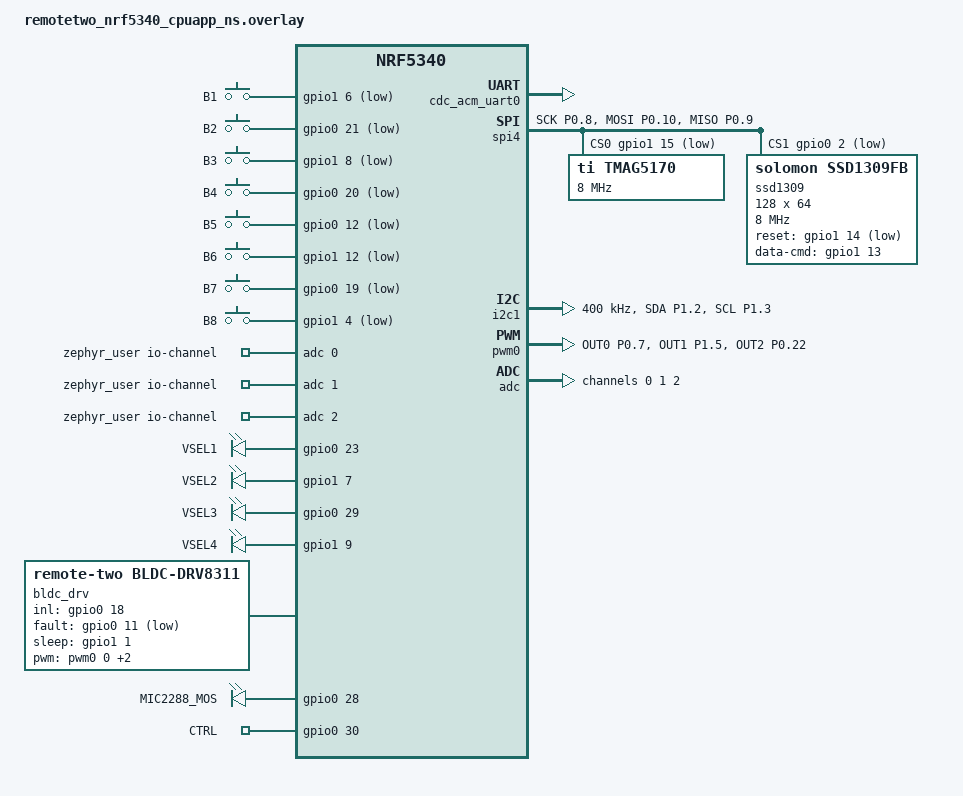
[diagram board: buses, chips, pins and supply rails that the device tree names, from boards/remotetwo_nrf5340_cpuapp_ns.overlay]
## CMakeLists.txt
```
cmake_minimum_required(VERSION 3.20.0)
find_package(Zephyr REQUIRED HINTS $ENV{ZEPHYR_BASE})

project(remote_two)

if(CONFIG_APP_DISP_TEST)
    target_sources(app PRIVATE
        src/disp_test.c
        src/haptic.c
        src/drivers/bldc_driver_3pwm.c
        src/drivers/bldc_motor.c
        src/drivers/current_sense.c
        src/drivers/tmag5170_sensor.c
    )
elseif(CONFIG_APP_DRV_TEST)
    target_sources(app PRIVATE
        src/DRV_test.c
        src/drivers/bldc_driver_3pwm.c
    )
else()
    target_sources(app PRIVATE
        src/main.c
        src/ui_display.c
        src/haptic.c
        src/remote_control.c
        src/BLE_commands.c
        src/drivers/tmag5170_sensor.c
        src/drivers/bldc_driver_3pwm.c
        src/drivers/bldc_motor.c
        src/drivers/current_sense.c
    )
endif()

target_include_directories(app PRIVATE src)
```

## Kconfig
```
mainmenu "RemoteTwo"

source "Kconfig.zephyr"

menu "Application build target"

	choice APP_BUILD
		prompt "Application to build"
		default APP_MAIN

	config APP_MAIN
		bool "Main application (BLE + display + motor FOC)"

	config APP_TMAG_TEST
		bool "TMAG5170 sensor stand-alone test"

	config APP_DRV_TEST
		bool "DRV8311H 3PWM driver open-loop test"

	endchoice

endmenu
```

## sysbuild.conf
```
# Build and flash nRF5340 network core with Bluetooth HCI IPC firmware.
SB_CONFIG_NETCORE_HCI_IPC=y
```

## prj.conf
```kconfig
# ==============================================================================
# TEST CODE SELECTOR - uncomment one of the lines below:
# ==============================================================================
#CONFIG_APP_DISP_TEST=y
#CONFIG_APP_DRV_TEST=y

# ==============================================================================
# 1. APPLICATION & SYSTEM
# ==============================================================================

# System tick rate must be >= FOC loop frequency (10 kHz)
CONFIG_SYS_CLOCK_TICKS_PER_SEC=10000

# FPU Support - Hardware Floating Point Unit
CONFIG_FPU=y
CONFIG_FP_HARDABI=y

# CMSIS DSP for ARM math library (Required for FOC)
CONFIG_CMSIS_DSP=y
CONFIG_CMSIS_DSP_FASTMATH=y

# ==============================================================================
# 2. HARDWARE & PERIPHERALS
# ==============================================================================
# Basic drivers
CONFIG_GPIO=y
CONFIG_SPI=y
CONFIG_PWM=y

# SAADC current sensing (DRV8311H CSA outputs) for FOC current torque control.
# We drive the SAADC directly with nrfx in advanced mode and PWM-synchronise
# sampling via GPPI (PWM0 PWMPERIODEND -> SAADC SAMPLE), so the Zephyr ADC
# driver must NOT own the peripheral. See src/drivers/current_sense.c.
CONFIG_ADC=n
CONFIG_NRFX_SAADC=y
CONFIG_NRFX_GPPI=y

# Display (custom framebuffer, no LVGL)
CONFIG_DISPLAY=y
CONFIG_SSD1306=y

# TMAG5170 angle sensor
CONFIG_SENSOR=y
CONFIG_TMAG5170=y

# Input subsystem (Menu button with debounce)
CONFIG_INPUT=y

# Power management: System OFF (deepest sleep) for the power button.
# NOTE: CONFIG_PM_DEVICE intentionally NOT enabled - it perturbs early device
# init on this target. TMAG5170 deep-sleep is done via a direct register write.
CONFIG_POWEROFF=y

# GPIOTE event handlers - 8 buttons + SPI CS GPIO interrupts + reserve
CONFIG_NRFX_GPIOTE_NUM_OF_EVT_HANDLERS=12

# ==============================================================================
# 3. BLUETOOTH LE + NUS
# ==============================================================================
CONFIG_BT=y
CONFIG_BT_PERIPHERAL=y
CONFIG_BT_DEVICE_NAME="remote_two"
CONFIG_BT_DEVICE_APPEARANCE=0
CONFIG_BT_MAX_CONN=1
CONFIG_BT_ZEPHYR_NUS=y

# Suppress verbose BT stack logs (keep only warnings+)
CONFIG_BT_HCI_CORE_LOG_LEVEL_WRN=y

# ==============================================================================
# 4. USB DEVICE STACK & DFU OTA (Application side)
# ==============================================================================

# Required dependencies for Flash writes and OTA updates
CONFIG_FLASH=y
CONFIG_IMG_MANAGER=y
CONFIG_STREAM_FLASH=y
CONFIG_FLASH_MAP=y

# Disable QSPI NOR flash - nRF5340DK board defconfig enables it by default.
# QSPI uses P0.13-P0.18; P0.18 = INL (motor low-side enable) -> conflict.
# Our DFU secondary slot is in INTERNAL flash (pm_static.yml), no QSPI needed.
CONFIG_NORDIC_QSPI_NOR=n

# Enable USB Device Stack
CONFIG_USB_DEVICE_STACK=y
CONFIG_USB_DEVICE_INITIALIZE_AT_BOOT=y
CONFIG_USB_DEVICE_PRODUCT="Remote Two"
CONFIG_USB_DEVICE_VID=0x2FE3
CONFIG_USB_DEVICE_PID=0x0100

# SMP (Simple Management Protocol) for Over-The-Air/USB firmware updates
CONFIG_ZCBOR=y
CONFIG_MCUMGR=y
CONFIG_BASE64=y
CONFIG_MCUMGR_TRANSPORT_UART=y
CONFIG_MCUMGR_GRP_IMG=y
CONFIG_MCUMGR_GRP_OS=y

# ==============================================================================
# 5. LOGGING & CONSOLE (Over USB CDC ACM)
# ==============================================================================
# Enable serial console
CONFIG_SERIAL=y
CONFIG_CONSOLE=y
CONFIG_UART_CONSOLE=y
CONFIG_UART_LINE_CTRL=y

# Disable Segger RTT to prevent conflicts with USB logging
CONFIG_RTT_CONSOLE=n
CONFIG_USE_SEGGER_RTT=n

# Logging Subsystem
CONFIG_LOG=y
CONFIG_LOG_DEFAULT_LEVEL=3
CONFIG_LOG_OVERRIDE_LEVEL=0
# Deferred logging: log lines are queued and flushed from a low-priority thread,
# so a stalled/slow USB-CDC terminal can NEVER block the timing-sensitive haptic
# FOC init (immediate mode busy-waits on uart_poll_out and stalled the whole
# boot for ~20 s when the terminal was not draining fast enough).
CONFIG_LOG_MODE_DEFERRED=y

# Printk support (float formatting)
CONFIG_PRINTK=y
CONFIG_CBPRINTF_FP_SUPPORT=y
# Route printk() through the logging subsystem (default) so it shares the
# non-blocking deferred path and cannot busy-wait on USB-CDC either.
CONFIG_LOG_PRINTK=y
```

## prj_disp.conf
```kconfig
# SSD1309 + TMAG5170 clean app build.
# Minimal: only SPI + display + TMAG, no BT/PWM/CMSIS.

#CONFIG_APP_DISP_TEST=y

# Peripherals
CONFIG_GPIO=y
CONFIG_SPI=y

# Display (SSD1306 driver handles both SSD1306 and SSD1309)
CONFIG_DISPLAY=y
CONFIG_SSD1306=y

# FPU (needed by Zephyr arm init even in minimal builds)
CONFIG_FPU=y
CONFIG_FP_HARDABI=y

# RTT console
CONFIG_SERIAL=n
CONFIG_CONSOLE=y
CONFIG_RTT_CONSOLE=y
CONFIG_USE_SEGGER_RTT=y
CONFIG_SEGGER_RTT_BUFFER_SIZE_UP=4096
CONFIG_PRINTK=y
CONFIG_CBPRINTF_FP_SUPPORT=y
CONFIG_LOG=y
CONFIG_LOG_DEFAULT_LEVEL=3
CONFIG_LOG_MODE_IMMEDIATE=y

# Disable everything unused
CONFIG_INPUT=n
CONFIG_BT=n
CONFIG_PWM=y
CONFIG_SENSOR=y
CONFIG_TMAG5170=y
CONFIG_CMSIS_DSP=y
```

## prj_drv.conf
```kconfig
# DRV8311H 3PWM open-loop driver verification build.
# Stand-alone test: no BLE, no display, no encoder, no current sensing.

# App selector (picks DRV_test.c in CMakeLists.txt)
CONFIG_APP_DRV_TEST=y

# Required peripherals
CONFIG_GPIO=y
CONFIG_PWM=y

# Hardware FPU — sinf/cosf in set_phase_voltage
CONFIG_FPU=y
CONFIG_FP_HARDABI=y
CONFIG_CBPRINTF_FP_SUPPORT=y

# RTT console
CONFIG_SERIAL=n
CONFIG_CONSOLE=y
CONFIG_RTT_CONSOLE=y
CONFIG_USE_SEGGER_RTT=y
CONFIG_PRINTK=y
CONFIG_LOG=y
CONFIG_LOG_DEFAULT_LEVEL=3
CONFIG_LOG_MODE_IMMEDIATE=y
CONFIG_SEGGER_RTT_BUFFER_SIZE_UP=4096

# Disable unused subsystems
CONFIG_INPUT=n
CONFIG_BT=n
CONFIG_DISPLAY=n
CONFIG_SSD1306=n
CONFIG_SPI=n
CONFIG_SENSOR=n
CONFIG_CMSIS_DSP=n
```

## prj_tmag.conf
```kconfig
# Minimal TMAG5170 debug build

# Core peripherals
CONFIG_GPIO=y
CONFIG_SPI=y
CONFIG_SENSOR=y
CONFIG_TMAG5170=y
CONFIG_TMAG5170_CRC=n

# Logging over RTT
CONFIG_SERIAL=n
CONFIG_CONSOLE=y
CONFIG_RTT_CONSOLE=y
CONFIG_USE_SEGGER_RTT=y
CONFIG_PRINTK=y
CONFIG_LOG=y
CONFIG_LOG_DEFAULT_LEVEL=3
CONFIG_LOG_MODE_IMMEDIATE=y
CONFIG_SEGGER_RTT_BUFFER_SIZE_UP=4096

# Keep the build as small as possible for sensor debugging
CONFIG_INPUT=n
CONFIG_BT=n
CONFIG_DISPLAY=n
CONFIG_SSD1306=n
CONFIG_PWM=n
```

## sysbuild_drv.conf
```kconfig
# No BLE firmware on network core needed for the driver test.
SB_CONFIG_NETCORE_HCI_IPC=n
```

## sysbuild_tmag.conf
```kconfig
# Sysbuild config for isolated TMAG debugging on CPUAPP only.
# Disable netcore HCI IPC image to avoid building unrelated child image.
SB_CONFIG_NETCORE_HCI_IPC=n
```

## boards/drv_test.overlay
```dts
/*
 * Minimal device-tree overlay for DRV8311H 3PWM open-loop driver test.
 *
 * Pin assignment (nRF5340DK GPIO headers):
 *
 *   INA    → P0.07  (PWM0 OUT0) — high-side phase A gate signal
 *   INB    → P1.05  (PWM0 OUT1) — high-side phase B gate signal
 *   INC    → P0.22  (PWM0 OUT2) — high-side phase C gate signal
 *   INL    → P0.18  (GPIO out)  — shared low-side enable
 *   nSLEEP → P1.01  (GPIO out)  — sleep control, HIGH = awake
 *   nFAULT → P0.11  (GPIO in)   — active-low fault indicator
 *
 * INL logic level (DRV8311H datasheet, Table 1 – 3PWM mode):
 *   INL = HIGH → low-side gates enabled, complementary PWM (normal operation)
 *   INL = LOW  → all low-side gates forced off, motor coasts (Hi-Z)
 * The driver asserts INL HIGH inside bldc_driver_3pwm_init_hw().
 *
 * Slew rate: set to 75 V/µs by hardware (IDRIVEN/IDRIVEP resistors).
 * No firmware configuration required.
 */

&pinctrl {
	pwm0_default: pwm0_default {
		group1 {
			psels = <NRF_PSEL(PWM_OUT0, 0,  7)>,  /* INA – P0.07 */
				<NRF_PSEL(PWM_OUT1, 1,  5)>,  /* INB – P1.05 */
				<NRF_PSEL(PWM_OUT2, 0, 22)>;  /* INC – P0.22 */
		};
	};
	pwm0_sleep: pwm0_sleep {
		group1 {
			psels = <NRF_PSEL(PWM_OUT0, 0,  7)>,
				<NRF_PSEL(PWM_OUT1, 1,  5)>,
				<NRF_PSEL(PWM_OUT2, 0, 22)>;
			low-power-enable;
		};
	};
};

&pwm0 {
	status = "okay";
	pinctrl-0 = <&pwm0_default>;
	pinctrl-1 = <&pwm0_sleep>;
	pinctrl-names = "default", "sleep";
};

/ {
	bldc_drv: bldc_drv {
		compatible = "remote-two,bldc-drv8311";

		/* PWM order: INA (idx 0), INB (idx 1), INC (idx 2) */
		pwms = <&pwm0 0 PWM_KHZ(25) PWM_POLARITY_NORMAL>,
		       <&pwm0 1 PWM_KHZ(25) PWM_POLARITY_NORMAL>,
		       <&pwm0 2 PWM_KHZ(25) PWM_POLARITY_NORMAL>;

		/* INL = HIGH for normal operation (see INL note above) */
		inl-gpios   = <&gpio0 18 GPIO_ACTIVE_HIGH>;

		/* nSLEEP: HIGH = device awake */
		sleep-gpios = <&gpio1  1 GPIO_ACTIVE_HIGH>;

		/* nFAULT: active-low, falling edge = fault asserted */
		fault-gpios = <&gpio0 11 GPIO_ACTIVE_LOW>;
	};
};
```

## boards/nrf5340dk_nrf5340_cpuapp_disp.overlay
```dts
/*
 * Display + DRV8311H combined test pin override.
 * Applied on top of remotetwo_nrf5340_cpuapp_ns.overlay for the build_disp build.
 *
 * SPI3 MOSI rerouted to former MISO testpoint on P0.10.
 * SCK stays at P1.05.
 *
 * PWM0 channels routed to the actual INA/INB/INC pins (3PWM mode):
 *   OUT0 (INA) -> P0.07
 *   OUT1 (INB) -> P1.05
 *   OUT2 (INC) -> P0.22
 * Source: nrf5340dk_nrf5340_cpuapp_drv.overlay
 */

&pinctrl {
        spi3_default: spi3_default {
                group1 {
                        psels = <NRF_PSEL(SPIM_SCK,  1, 5)>,
                                <NRF_PSEL(SPIM_MOSI, 0, 10)>;
                };
        };
        spi3_sleep: spi3_sleep {
                group1 {
                        psels = <NRF_PSEL(SPIM_SCK,  1, 5)>,
                                <NRF_PSEL(SPIM_MOSI, 0, 10)>;
                        low-power-enable;
                };
        };
        pwm0_default: pwm0_default {
                group1 {
                        psels = <NRF_PSEL(PWM_OUT0, 0, 7)>,   /* INA -> P0.07 */
                                <NRF_PSEL(PWM_OUT1, 1, 5)>,    /* INB -> P1.05 */
                                <NRF_PSEL(PWM_OUT2, 0, 22)>;   /* INC -> P0.22 */
                };
        };
        pwm0_sleep: pwm0_sleep {
                group1 {
                        psels = <NRF_PSEL(PWM_OUT0, 0, 7)>,
                                <NRF_PSEL(PWM_OUT1, 1, 5)>,
                                <NRF_PSEL(PWM_OUT2, 0, 22)>;
		};
	};
};

/ {
	buttons {
		compatible = "gpio-keys";
		btn_east: btn_east {
			gpios = <&gpio1 4 (GPIO_PULL_UP | GPIO_ACTIVE_LOW)>;
			label = "East button";
		};
	};
};
```

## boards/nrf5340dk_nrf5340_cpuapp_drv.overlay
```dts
/*
 * DRV8311H 3PWM pin override.
 * Applied on top of nrf5340dk_nrf5340_cpuapp_ns.overlay for the build_drv build.
 *
 * PWM0 channels routed to the actual INA/INB/INC pins on the PCB:
 *   OUT0 (INA) -> P0.07
 *   OUT1 (INB) -> P1.05
 *   OUT2 (INC) -> P0.22
 *
 * The base overlay maps PWM0 to P1.14/P1.12/P1.10 (6PWM high-side).
 * This overlay replaces that mapping for the 3PWM DRV8311H build.
 */

&pinctrl {
	pwm0_default: pwm0_default {
		group1 {
			psels = <NRF_PSEL(PWM_OUT0, 0, 7)>,   /* INA -> P0.07 */
				<NRF_PSEL(PWM_OUT1, 1, 5)>,    /* INB -> P1.05 */
				<NRF_PSEL(PWM_OUT2, 0, 22)>;   /* INC -> P0.22 */
		};
	};
	pwm0_sleep: pwm0_sleep {
		group1 {
			psels = <NRF_PSEL(PWM_OUT0, 0, 7)>,
				<NRF_PSEL(PWM_OUT1, 1, 5)>,
				<NRF_PSEL(PWM_OUT2, 0, 22)>;
			low-power-enable;
		};
	};
};
```

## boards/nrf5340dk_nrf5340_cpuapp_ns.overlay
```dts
/*
 * Device Tree overlay for nRF5340 DK - remote_two
 *
 * AS5048A encoder (SPI3):
 *   SCK  -> P1.05
 *   MOSI -> P1.06
 *   MISO -> P1.02
 *   CS   -> P1.03
 *
 * SSD1309 OLED (shared SPI3 bus):
 *   CS   -> P1.09
 *   DC   -> P1.08
 *   RST  -> P1.07
 *
 * 6PWM motor driver:
 *   Phase A high -> P1.14
 *   Phase B high -> P1.12
 *   Phase C high -> P1.10
 *   Phase A low  -> P1.15
 *   Phase B low  -> P1.13
 *   Phase C low  -> P1.11
 */

&pinctrl {
	/* SPI3 - AS5048A encoder + SSD1309 display */
	spi3_default: spi3_default {
		group1 {
			psels = <NRF_PSEL(SPIM_SCK,  1, 5)>,
				<NRF_PSEL(SPIM_MOSI, 1, 6)>,
				<NRF_PSEL(SPIM_MISO, 1, 2)>;
		};
	};
	spi3_sleep: spi3_sleep {
		group1 {
			psels = <NRF_PSEL(SPIM_SCK,  1, 5)>,
				<NRF_PSEL(SPIM_MOSI, 1, 6)>,
				<NRF_PSEL(SPIM_MISO, 1, 2)>;
			low-power-enable;
		};
	};

	/* PWM0 - high-side gate signals (AH=OUT0, BH=OUT1, CH=OUT2) */
	pwm0_default: pwm0_default {
		group1 {
			psels = <NRF_PSEL(PWM_OUT0, 1, 14)>,
				<NRF_PSEL(PWM_OUT1, 1, 12)>,
				<NRF_PSEL(PWM_OUT2, 1, 10)>;
		};
	};
	pwm0_sleep: pwm0_sleep {
		group1 {
			psels = <NRF_PSEL(PWM_OUT0, 1, 14)>,
				<NRF_PSEL(PWM_OUT1, 1, 12)>,
				<NRF_PSEL(PWM_OUT2, 1, 10)>;
			low-power-enable;
		};
	};

	/* PWM1 - low-side gate signals (AL=OUT0, BL=OUT1, CL=OUT2) */
	pwm1_default: pwm1_default {
		group1 {
			psels = <NRF_PSEL(PWM_OUT0, 1, 15)>,
				<NRF_PSEL(PWM_OUT1, 1, 13)>,
				<NRF_PSEL(PWM_OUT2, 1, 11)>;
		};
	};
	pwm1_sleep: pwm1_sleep {
		group1 {
			psels = <NRF_PSEL(PWM_OUT0, 1, 15)>,
				<NRF_PSEL(PWM_OUT1, 1, 13)>,
				<NRF_PSEL(PWM_OUT2, 1, 11)>;
			low-power-enable;
		};
	};
};

/* SPI3 - AS5048A encoder (reg=0) + SSD1309 display (reg=1) */
&spi3 {
	compatible = "nordic,nrf-spim";
	status = "okay";
	pinctrl-0 = <&spi3_default>;
	pinctrl-1 = <&spi3_sleep>;
	pinctrl-names = "default", "sleep";
	cs-gpios = <&gpio1 3 GPIO_ACTIVE_LOW>,
		   <&gpio1 9 GPIO_ACTIVE_LOW>;

	as5048a: as5048a@0 {
		compatible = "ams,as5048a";
		reg = <0>;
		spi-max-frequency = <8000000>;
	};

	ssd1309: ssd1309@1 {
		compatible = "solomon,ssd1309fb";
		reg = <1>;
		spi-max-frequency = <8000000>;
		width = <128>;
		height = <64>;
		segment-offset = <0>;
		page-offset = <0>;
		display-offset = <0>;
		multiplex-ratio = <63>;
		segment-remap;
		com-invdir;
		prechargep = <0x22>;  /* Phase1=2, Phase2=2 – ext. VCC, no charge pump */
		reset-gpios = <&gpio1 7 GPIO_ACTIVE_LOW>;
		data-cmd-gpios = <&gpio1 8 GPIO_ACTIVE_HIGH>;
	};
};

/* PWM0 - high-side phase signals */
pwm_high: &pwm0 {
	status = "okay";
	pinctrl-0 = <&pwm0_default>;
	pinctrl-1 = <&pwm0_sleep>;
	pinctrl-names = "default", "sleep";
};

/* PWM1 - low-side phase signals */
pwm_low: &pwm1 {
	status = "okay";
	pinctrl-0 = <&pwm1_default>;
	pinctrl-1 = <&pwm1_sleep>;
	pinctrl-names = "default", "sleep";
};

/ {
	chosen {
		zephyr,display = &ssd1309;
	};

	/*
	 * 6PWM BLDC driver — channel order: AH, AL, BH, BL, CH, CL.
	 * To remap phases to different pins change only the pinctrl entries above;
	 * to swap which channel drives which phase edit the pwms list here.
	 * No C code needs to be touched.
	 */
	bldc_6pwm: bldc_6pwm {
		compatible = "remote-two,bldc-6pwm";
		pwms = <&pwm0 0 PWM_KHZ(25) PWM_POLARITY_NORMAL>,   /* Phase A high */
		       <&pwm1 0 PWM_KHZ(25) PWM_POLARITY_NORMAL>,   /* Phase A low  */
		       <&pwm0 1 PWM_KHZ(25) PWM_POLARITY_NORMAL>,   /* Phase B high */
		       <&pwm1 1 PWM_KHZ(25) PWM_POLARITY_NORMAL>,   /* Phase B low  */
		       <&pwm0 2 PWM_KHZ(25) PWM_POLARITY_NORMAL>,   /* Phase C high */
		       <&pwm1 2 PWM_KHZ(25) PWM_POLARITY_NORMAL>;   /* Phase C low  */
	};

	aliases {
		sw1 = &button1;
	};

	buttons {
		compatible = "gpio-keys";
		button1: button_1 {
			gpios = <&gpio0 24 (GPIO_PULL_UP | GPIO_ACTIVE_LOW)>;
			label = "Menu button";
			zephyr,code = <INPUT_KEY_ENTER>;
		};
	};
};
```

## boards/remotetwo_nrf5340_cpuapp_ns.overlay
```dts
/*
 * Device Tree overlay - RemoteTwo hardware (nRF5340 / MDBT53)
 * Derived from nRF5340_altium_schema.pdf / remotetwo_pins.txt
 *
 * LFXO  - 32.768 kHz crystal ABS07-32.768KHZ-9-T
 *   internal load capacitors set to 9 pF (= 9000 fF)
 *
 * SPIM4 (HSPI) - TMAG5170 magnetic angle sensor  (CS: P1.15)
 *              + SSD1309 OLED display            (CS: P0.02)
 *   SCK  -> P0.08   MOSI -> P0.10   MISO -> P0.09
 *
 * I2C1  - on-board I2C bus (accelerometer, etc.)
 *   SDA  -> P1.02   SCL  -> P1.03
 *
 * PWM0  - DRV8311 motor inputs INA / INB / INC
 *   INA -> P0.07   INB -> P1.05   INC -> P0.22
 *
 * PWM1  - DRV8311 common low-side INL
 *   INL -> P0.18
 *
 * SAADC - DRV8311H current-sense amplifier outputs (FOC current control)
 *   SOA -> P0.27 (AIN6)   SOB -> P0.26 (AIN5)   SOC -> P0.25 (AIN4)
 */

#include <zephyr/dt-bindings/adc/adc.h>
#include <zephyr/dt-bindings/adc/nrf-saadc.h>

 /* Define main console - USB */
/ {
    chosen {
        zephyr,console = &cdc_acm_uart0;
        zephyr,shell = &cdc_acm_uart0;
		zephyr,uart-mcumgr = &cdc_acm_uart0;
    };
};

&zephyr_udc0 {
    cdc_acm_uart0: cdc_acm_uart0 {
        compatible = "zephyr,cdc-acm-uart";
        label = "CDC_ACM_0";
    };
};

/* Disable hardware UART0 because its registers are needed by our SPI bus setup. */
&uart0 {
    status = "disabled";
};

/*
 * nrf5340dk_nrf5340_cpuapp_ns.overlay is auto-loaded by Zephyr for this board.
 * We override several default DK settings:
 *   - pwm1 disabled: frees P1.15 for SPI0 CS TMAG5170 (otherwise TMAG always returns 0)
 *   - qspi disabled: QSPI uses pins P0.13-P0.18; P0.18 = motor INL -> conflict
 *   - delete button_0..3: DK has 4 default buttons and we add 8 more = 12 GPIOTE channels,
 *     but nRF5340 only has 8 -> -ENOMEM; remove all DK buttons
 */
&pwm1 {
    status = "disabled";
};

&qspi {
    status = "disabled";
};

/* SPI bus moved to the dedicated high-speed SPIM4 (HSPI). Make sure the old
 * SERIAL0 SPIM is off so it cannot claim the shared pins or instance. */
&spi0 {
    status = "disabled";
};

/*
 * Stop the application core from forwarding the net-core console-UART pins.
 *
 * The DK common devicetree forwards P1.01/P1.00/P0.11/P0.10 (net-core uart0
 * TX/RX/RTS/CTS) to the network core via nrf-gpio-forwarder. On the RemoteTwo
 * board P0.10 is the SPI MOSI shared by the TMAG5170 and SSD1309. Once
 * bt_enable() boots the net core, the forwarded P0.10 is handed to the net-core
 * uart0 (CTS), stealing MOSI from the app-core SPIM: every SPI write still
 * "succeeds" but no data reaches the devices, so the TMAG reads 0 mT and the
 * OLED shows checkerboard. hci_ipc needs no serial console, so remove the
 * forward entirely. A GPIO is only accessible to the net core if the app core
 * forwards it, so deleting this node keeps P0.10 (and the others) owned by the
 * app core. This is an app-core-only change, deployable over the existing DFU.
 */
&gpio_fwd {
    /delete-node/ uart;
};

/ {
    buttons {
        /delete-node/ button_0;
        /delete-node/ button_1;
        /delete-node/ button_2;
        /delete-node/ button_3;
    };
};

&pinctrl {
	/* ---- SPIM4 (HSPI): TMAG5170 + SSD1309 OLED ----
	 * Uses the dedicated high-speed SPIM4 instance (spi@a000, up to 32 MHz)
	 * instead of SERIAL3 (spi3). Same physical pins. The board-default
	 * spi4_default pinctrl (P1.15/P1.14/P1.13, Arduino header) is overridden by
	 * these states, so those pins stay free for CS_TMAG / OLED_RST / OLED_DC. */
	spi4hs_default: spi4hs_default {
		group1 {
			psels = <NRF_PSEL(SPIM_SCK,  0, 8)>,
				<NRF_PSEL(SPIM_MOSI, 0, 10)>;
		};
		group2 {
			psels = <NRF_PSEL(SPIM_MISO, 0, 9)>;
			bias-pull-up;
		};
	};
	spi4hs_sleep: spi4hs_sleep {
		group1 {
			psels = <NRF_PSEL(SPIM_SCK,  0, 8)>,
				<NRF_PSEL(SPIM_MOSI, 0, 10)>,
				<NRF_PSEL(SPIM_MISO, 0, 9)>;
			low-power-enable;
		};
	};

	/* ---- I2C1 ---- */
	i2c1_default: i2c1_default {
		group1 {
			psels = <NRF_PSEL(TWIM_SDA, 1, 2)>,
				<NRF_PSEL(TWIM_SCL, 1, 3)>;
		};
	};
	i2c1_sleep: i2c1_sleep {
		group1 {
			psels = <NRF_PSEL(TWIM_SDA, 1, 2)>,
				<NRF_PSEL(TWIM_SCL, 1, 3)>;
			low-power-enable;
		};
	};

	/* ---- PWM0: INA / INB / INC ---- */
	pwm0_default: pwm0_default {
		group1 {
			psels = <NRF_PSEL(PWM_OUT0, 0, 7)>,   /* INA – P0.07 */
				<NRF_PSEL(PWM_OUT1, 1, 5)>,    /* INB – P1.05 */
				<NRF_PSEL(PWM_OUT2, 0, 22)>;   /* INC – P0.22 */
		};
	};
	pwm0_sleep: pwm0_sleep {
		group1 {
			psels = <NRF_PSEL(PWM_OUT0, 0, 7)>,
				<NRF_PSEL(PWM_OUT1, 1, 5)>,
				<NRF_PSEL(PWM_OUT2, 0, 22)>;
			low-power-enable;
		};
	};

};

/* ================================================================
 * LFXO – 32.768 kHz crystal ABS07-32.768KHZ-9-T
 * Internal load capacitors 9 pF match crystal's CL specification.
 * ================================================================ */
&lfxo {
	load-capacitors = "internal";
	load-capacitance-picofarad = <9>;
};

/* ================================================================
 * SPIM4 (HSPI) – TMAG5170 (reg=0) + SSD1309 OLED (reg=1)
 * Dedicated high-speed SPIM4 instance (spi@a000). Replaces SERIAL3 (spi3),
 * which is disabled just above. Same physical pins (SCK P0.08, MOSI P0.10,
 * MISO P0.09). Devices stay at 8 MHz, so no high-drive pin config is needed.
 * ================================================================ */
&spi3 {
	status = "disabled";
};

&spi4 {
	compatible = "nordic,nrf-spim";
	status = "okay";
	pinctrl-0 = <&spi4hs_default>;
	pinctrl-1 = <&spi4hs_sleep>;
	pinctrl-names = "default", "sleep";
	cs-gpios = <&gpio1 15 GPIO_ACTIVE_LOW>,   /* CS_TMAG  – P1.15 */
		   <&gpio0  2 GPIO_ACTIVE_LOW>;    /* CSn_OLED – P0.02 */

	tmag5170: tmag5170@0 {
		compatible = "ti,tmag5170";
		reg = <0>;
		spi-max-frequency = <8000000>;
		operating-mode = <2>;
		magnetic-channels = "XY";
		angle-measurement = "XY";
		/* Noise reduction: 32x hardware oversampling => ~sqrt(32) ≈ 5.7x less
		 * angle noise. Default oversampling=1 (chip reset) gave ~8 deg p-p. */
		oversampling = <32>;
		/* Measured in-plane field |Bxy| ≈ 50 mT (magnet at working distance).
		 * At ±25 mT (range 1) both axes railed at ~25 (fake 315° angle); at
		 * ±50 mT (range 0) the dominant axis still pegs at ~49.9 mT => still
		 * clipping. Use 2 = ±100 mT (A1) / ±300 mT (A2) so the ~50 mT peak has
		 * headroom and the angle stays linear over the full rotation. */
		x-range = <2>;
		y-range = <2>;
	};

	ssd1309: ssd1309@1 {
		compatible = "solomon,ssd1309fb";
		reg = <1>;
		spi-max-frequency = <8000000>;
		width = <128>;
		height = <64>;
		segment-offset = <0>;
		page-offset = <0>;
		display-offset = <0>;
		multiplex-ratio = <63>;
		segment-remap;
		com-invdir;
		prechargep = <0x22>;  /* Phase1=2, Phase2=2 – ext. VCC, no charge pump */
		reset-gpios    = <&gpio1 14 GPIO_ACTIVE_LOW>;    /* OLED_RST – P1.14 */
		data-cmd-gpios = <&gpio1 13 GPIO_ACTIVE_HIGH>;   /* D/C      – P1.13 */
		ready-time-ms = <200>;
	};
};

/* ================================================================
 * I2C1 – on-board I2C bus (accelerometer, …)
 * ================================================================ */
&i2c1 {
	compatible = "nordic,nrf-twim";
	status = "okay";
	pinctrl-0 = <&i2c1_default>;
	pinctrl-1 = <&i2c1_sleep>;
	pinctrl-names = "default", "sleep";
	clock-frequency = <I2C_BITRATE_FAST>;
};

/* ================================================================
 * PWM0 – DRV8311 high-side inputs INA / INB / INC
 * ================================================================ */
&pwm0 {
	status = "okay";
	pinctrl-0 = <&pwm0_default>;
	pinctrl-1 = <&pwm0_sleep>;
	pinctrl-names = "default", "sleep";
};

/* ================================================================
 * SAADC – DRV8311H current-sense amplifier outputs (FOC current control)
 *   SOA = P0.27 = AIN6 (channel 0)
 *   SOB = P0.26 = AIN5 (channel 1)
 *   SOC = P0.25 = AIN4 (channel 2)
 * CSA gain = 2 V/A, bidirectional, output biased near AVDD/2.
 * Internal 0.6 V reference + gain 1/6 => full-scale 3.6 V single-ended,
 * which spans the 0..3.3 V CSA output with headroom. 12-bit resolution.
 * ================================================================ */
&adc {
	status = "okay";
	#address-cells = <1>;
	#size-cells = <0>;

	channel@0 {
		reg = <0>;
		zephyr,gain = "ADC_GAIN_1_6";
		zephyr,reference = "ADC_REF_INTERNAL";
		zephyr,acquisition-time = <ADC_ACQ_TIME(ADC_ACQ_TIME_MICROSECONDS, 3)>;
		zephyr,input-positive = <NRF_SAADC_AIN6>;   /* SOA – P0.27 */
		zephyr,resolution = <12>;
	};
	channel@1 {
		reg = <1>;
		zephyr,gain = "ADC_GAIN_1_6";
		zephyr,reference = "ADC_REF_INTERNAL";
		zephyr,acquisition-time = <ADC_ACQ_TIME(ADC_ACQ_TIME_MICROSECONDS, 3)>;
		zephyr,input-positive = <NRF_SAADC_AIN5>;   /* SOB – P0.26 */
		zephyr,resolution = <12>;
	};
	channel@2 {
		reg = <2>;
		zephyr,gain = "ADC_GAIN_1_6";
		zephyr,reference = "ADC_REF_INTERNAL";
		zephyr,acquisition-time = <ADC_ACQ_TIME(ADC_ACQ_TIME_MICROSECONDS, 3)>;
		zephyr,input-positive = <NRF_SAADC_AIN4>;   /* SOC – P0.25 */
		zephyr,resolution = <12>;
	};
};

/ {
	/* Phandle bundle the current-sense driver grabs the three ADC channels from.
	 * Node MUST be named "zephyr,user" (no compatible) so the devicetree type
	 * inference recognises io-channels as a phandle-array. IDX 0/1/2 = SOA/SOB/SOC. */
	zephyr_user: zephyr,user {
		io-channels = <&adc 0>, <&adc 1>, <&adc 2>;
	};
};

/ {
	chosen {
		zephyr,display = &ssd1309;
	};

	/* ------------------------------------------------------------
	 * Buttons B1–B8  (pull-up, active-low to GND)
	 * ------------------------------------------------------------ */
	buttons {
		compatible = "gpio-keys";

		button_b1: btn_south: button_b1 {
			gpios = <&gpio1  6 (GPIO_PULL_UP | GPIO_ACTIVE_LOW)>;
			label = "B1";
			zephyr,code = <INPUT_KEY_1>;
		};
		button_b2: btn_south_west: button_b2 {
			gpios = <&gpio0 21 (GPIO_PULL_UP | GPIO_ACTIVE_LOW)>;
			label = "B2";
			zephyr,code = <INPUT_KEY_2>;
		};
		button_b3: btn_west: button_b3 {
			gpios = <&gpio1  8 (GPIO_PULL_UP | GPIO_ACTIVE_LOW)>;
			label = "B3";
			zephyr,code = <INPUT_KEY_3>;
		};
		button_b4: btn_north_west: button_b4 {
			gpios = <&gpio0 20 (GPIO_PULL_UP | GPIO_ACTIVE_LOW)>;
			label = "B4";
			zephyr,code = <INPUT_KEY_4>;
		};
		button_b5: btn_north: button_b5 {
			gpios = <&gpio0 12 (GPIO_PULL_UP | GPIO_ACTIVE_LOW)>;
			label = "B5";
			zephyr,code = <INPUT_KEY_5>;
		};
		button_b6: btn_north_east: button_b6 {
			gpios = <&gpio1 12 (GPIO_PULL_UP | GPIO_ACTIVE_LOW)>;
			label = "B6";
			zephyr,code = <INPUT_KEY_6>;
		};
		button_boot: btn_south_east: button_boot {
			gpios = <&gpio0 19 (GPIO_PULL_UP | GPIO_ACTIVE_LOW)>;
			label = "B7";
			zephyr,code = <INPUT_KEY_7>;
		};
		button_b8: btn_east: button_b8 {
			gpios = <&gpio1  4 (GPIO_PULL_UP | GPIO_ACTIVE_LOW)>;
			label = "B8";
			zephyr,code = <INPUT_KEY_8>;
		};
	};

	/* ------------------------------------------------------------
	 * Voltage selectors VSEL1–4  (GPIO outputs, active-high)
	 * ------------------------------------------------------------ */
	vsel_gpios {
		compatible = "gpio-leds";
		vsel1: vsel1 {
			gpios = <&gpio0 23 GPIO_ACTIVE_HIGH>;   /* VSEL1 – P0.23 */
			label = "VSEL1";
		};
		vsel2: vsel2 {
			gpios = <&gpio1  7 GPIO_ACTIVE_HIGH>;   /* VSEL2 – P1.07 */
			label = "VSEL2";
		};
		vsel3: vsel3 {
			gpios = <&gpio0 29 GPIO_ACTIVE_HIGH>;   /* VSEL3 – P0.29 */
			label = "VSEL3";
		};
		vsel4: vsel4 {
			gpios = <&gpio1  9 GPIO_ACTIVE_HIGH>;   /* VSEL4 – P1.09 */
			label = "VSEL4";
		};
	};

	/* ------------------------------------------------------------
	 * DRV8311H motor driver – 3PWM mode
	 *   INA/INB/INC driven by PWM0 channels 0/1/2.
	 *   INL (low-side enable) and nSLEEP driven as plain GPIO outputs.
	 *   nFAULT is a GPIO input with falling-edge interrupt for logging.
	 * ------------------------------------------------------------ */
	bldc_drv: bldc_drv {
		compatible = "remote-two,bldc-drv8311";
		pwms = <&pwm0 0 PWM_KHZ(25) PWM_POLARITY_NORMAL>,  /* INA – P0.07 */
		       <&pwm0 1 PWM_KHZ(25) PWM_POLARITY_NORMAL>,  /* INB – P1.05 */
		       <&pwm0 2 PWM_KHZ(25) PWM_POLARITY_NORMAL>;  /* INC – P0.22 */
		inl-gpios   = <&gpio0 18 GPIO_ACTIVE_HIGH>;         /* INL        – P0.18 */
		fault-gpios = <&gpio0 11 GPIO_ACTIVE_LOW>;          /* DRV_FAULT  – P0.11 */
		sleep-gpios = <&gpio1  1 GPIO_ACTIVE_HIGH>;         /* DRV_SLEEP  – P1.01 */
	};

	/* ------------------------------------------------------------
	 * Power / charging GPIOs
	 * ------------------------------------------------------------ */
	power_gpios {
		compatible = "gpio-leds";
		mic2288_mos: mic2288_mos {
			gpios = <&gpio0 28 GPIO_ACTIVE_HIGH>;   /* MIC2288_MOS – P0.28 */
			label = "MIC2288_MOS";
		};
		pwr_ctrl: pwr_ctrl {
			gpios = <&gpio0 30 GPIO_ACTIVE_HIGH>;   /* CTRL        – P0.30 */
			label = "CTRL";
		};
	};

	charge_gpios {
		compatible = "remote-two,status-gpios";
		charge_stat: charge_stat {
			gpios = <&gpio1 10 GPIO_ACTIVE_LOW>;    /* CHARGE_STAT – P1.10 */
			label = "CHARGE_STAT";
		};
		charge_alrt: charge_alrt {
			gpios = <&gpio0 31 GPIO_ACTIVE_LOW>;    /* ALRT        – P0.31 */
			label = "ALRT";
		};
		charge_irqn: charge_irqn {
			gpios = <&gpio1 11 GPIO_ACTIVE_LOW>;    /* IRQn        – P1.11 */
			label = "IRQn";
		};
		accel_int: accel_int {
			gpios = <&gpio0  5 GPIO_ACTIVE_HIGH>;   /* INT_ACCEL   – P0.05 */
			label = "INT_ACCEL";
		};
	};

	aliases {
		spi-oled  = &ssd1309;
		spi-tmag  = &tmag5170;
		motor-drv = &bldc_drv;
		sw0 = &button_b1;
		sw1 = &button_b2;
		sw2 = &button_b3;
		sw3 = &button_b4;
		sw4 = &button_b5;
		sw5 = &button_b6;
		mcuboot-button0 = &button_boot;
		sw6 = &button_b8;
	};
};
```

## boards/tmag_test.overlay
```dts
/* Minimal overlay for TMAG5170 debug testing only. */

/* Remove the SPI3-based TMAG5170 node defined in nrf5340dk_nrf5340_cpuapp_ns.overlay
 * to avoid duplicate 'tmag5170' label when both overlays are applied together. */
&spi3 {
	/delete-node/ tmag5170@0;
};

&pinctrl {
	spi0_default: spi0_default {
		group1 {
			psels = <NRF_PSEL(SPIM_SCK,  0, 8)>,
				<NRF_PSEL(SPIM_MOSI, 0, 10)>;
		};
		group2 {
			psels = <NRF_PSEL(SPIM_MISO, 0, 9)>;
			bias-pull-up;
		};
	};

	spi0_sleep: spi0_sleep {
		group1 {
			psels = <NRF_PSEL(SPIM_SCK,  0, 8)>,
				<NRF_PSEL(SPIM_MOSI, 0, 10)>,
				<NRF_PSEL(SPIM_MISO, 0, 9)>;
			low-power-enable;
		};
	};
};

&spi0 {
	compatible = "nordic,nrf-spim";
	status = "okay";
	pinctrl-0 = <&spi0_default>;
	pinctrl-1 = <&spi0_sleep>;
	pinctrl-names = "default", "sleep";
	cs-gpios = <&gpio1 15 GPIO_ACTIVE_LOW>;

	tmag5170: tmag5170@0 {
		compatible = "ti,tmag5170";
		reg = <0>;
		spi-max-frequency = <8000000>;
		operating-mode = <2>;
		magnetic-channels = "XY";
		angle-measurement = "XY";
	};
};
```

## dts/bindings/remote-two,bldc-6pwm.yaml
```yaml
description: |
  6-PWM BLDC motor driver pin assignment node.
  Defines the six PWM channels used to drive a BLDC motor with complementary
  high-side / low-side switching. Channel order in the pwms property is fixed:
    index 0 - Phase A high
    index 1 - Phase A low
    index 2 - Phase B high
    index 3 - Phase B low
    index 4 - Phase C high
    index 5 - Phase C low

compatible: "remote-two,bldc-6pwm"

properties:
  pwms:
    type: phandle-array
    required: true
    description: |
      Six PWM specifiers in order AH, AL, BH, BL, CH, CL.
      Each entry: <&pwm_controller channel period_ns flags>.
```

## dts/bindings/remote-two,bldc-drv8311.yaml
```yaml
description: |
  3-PWM BLDC motor driver node for DRV8311H.
  INA/INB/INC are driven by three PWM channels.
  INL (low-side enable), nSLEEP, and nFAULT are plain GPIOs.

compatible: "remote-two,bldc-drv8311"

properties:
  pwms:
    type: phandle-array
    required: true
    description: |
      Three PWM specifiers in order INA, INB, INC.
      Each entry: <&pwm_controller channel period_ns flags>.

  inl-gpios:
    type: phandle-array
    required: true
    description: INL (low-side enable) GPIO, active high.

  sleep-gpios:
    type: phandle-array
    required: true
    description: nSLEEP GPIO, active high = awake.

  fault-gpios:
    type: phandle-array
    required: true
    description: nFAULT GPIO, active low = fault asserted.
```

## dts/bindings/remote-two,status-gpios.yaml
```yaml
description: Group node for status/interrupt GPIO inputs (charger, accelerometer, etc.)

compatible: "remote-two,status-gpios"

child-binding:
  description: Individual status or interrupt GPIO input
  properties:
    gpios:
      type: phandle-array
      required: true
    label:
      type: string
```

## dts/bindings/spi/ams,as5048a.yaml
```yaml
description: AMS AS5048A 14-bit magnetic rotary position sensor (SPI)

compatible: "ams,as5048a"

include: spi-device.yaml

properties:
  int-gpios:
    type: phandle-array
    description: Interrupt/alert output GPIO, active low.
```

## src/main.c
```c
#include <zephyr/kernel.h>
#include <zephyr/device.h>
#include <zephyr/devicetree.h>
#include <zephyr/drivers/uart.h>
#include <zephyr/logging/log.h>
#include "haptic.h"
#include "remote_control.h"
#include "drivers/tmag5170_sensor.h"
#include "ui_display.h"
#include "BLE_commands.h"

LOG_MODULE_REGISTER(main, LOG_LEVEL_DBG);

/* Device instances */
static struct tmag5170_device encoder;
static bldc_driver_3pwm_t driver;
static bldc_motor_t motor;

static void wait_for_usb_console_ready(void)
{
#if DT_HAS_CHOSEN(zephyr_console)
	const struct device *const console_dev = DEVICE_DT_GET(DT_CHOSEN(zephyr_console));

	if (!device_is_ready(console_dev)) {
		return;
	}

	if (IS_ENABLED(CONFIG_UART_LINE_CTRL)) {
		uint32_t dtr = 0;

		/* Wait max 3 s for terminal DTR – do not block indefinitely so that
		 * mcumgr SMP commands can reach the app even without a terminal. */
		for (int i = 0; i < 120; i++) {
			if ((uart_line_ctrl_get(console_dev, UART_LINE_CTRL_DTR, &dtr) == 0) && dtr) {
				break;
			}
			k_msleep(25);
		}
	}
#endif
}

int main(void)
{
	wait_for_usb_console_ready();
	LOG_INF("System started, OTA update ready");

	/* Sequence copied verbatim from the proven `main` branch, which ran the
	 * SPI display + TMAG encoder + DRV8311 motor + BLE all together on the
	 * nRF5340 DK:
	 *
	 *   1) Start the BLE radio FIRST.
	 *   2) Wait 300 ms so the RF front-end start-up current surge settles.
	 *      Without this the surge drops PVDD below the DRV8311H UVLO threshold
	 *      (latching a permanent fault) and disturbs the MIC2288 OLED boost,
	 *      leaving the display white and the TMAG5170 reading 0 mT.
	 *   3) Only THEN bring up the display + motor driver + encoder.
	 *
	 * No DC/DC Kconfig tricks — just the settle delay, exactly like main. */
	ble_commands_init();
	k_msleep(300);

	/* Supply now stable: bring up display and haptic. */
	if (ui_display_init() == 0) {
		(void)ui_display_show_hello_remote();
	}

	haptic_init(&motor, (bldc_driver_t *)&driver, (sensor_t *)&encoder);

	/* Finish UI/menu init (BLE already up). */
	remote_control_init();

	while (1) {
		remote_control_tick();
		ui_display_process();
		k_msleep(15);
	}
}
```

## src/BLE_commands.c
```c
#include "BLE_commands.h"
#include <errno.h>
#include <stdio.h>
#include <stdlib.h>
#include <string.h>
#include <zephyr/bluetooth/bluetooth.h>
#include <zephyr/bluetooth/conn.h>
#include <zephyr/bluetooth/gatt.h>
#include <zephyr/bluetooth/hci.h>
#include <zephyr/bluetooth/services/nus.h>
#include <zephyr/kernel.h>
#include <zephyr/logging/log.h>
#include <zephyr/sys/util.h>

LOG_MODULE_REGISTER(ble_commands, LOG_LEVEL_DBG);

/* Keep BLE sending out of the haptic loop: enqueue text payloads and
 * transmit from a dedicated thread. */
#define BLE_MSG_MAX_LEN      64
#define BLE_TX_QUEUE_LEN      16
#define BLE_TX_STACK_SIZE   1024
#define BLE_TX_THREAD_PRIO    7
#define BLE_NUS_CHUNK_LEN     20

/* Receive reassembly buffer — accumulates incoming BLE chunks until \n. */
#define NUS_RX_BUF_SIZE     256

struct ble_tx_msg {
    uint8_t len;
    char payload[BLE_MSG_MAX_LEN];
};

K_MSGQ_DEFINE(ble_tx_msgq, sizeof(struct ble_tx_msg), BLE_TX_QUEUE_LEN, 4);
K_SEM_DEFINE(ble_ready_sem, 0, 1);
K_THREAD_STACK_DEFINE(ble_tx_stack, BLE_TX_STACK_SIZE);
static struct k_thread ble_tx_thread_data;

static bool g_ble_connected;
static struct bt_conn *g_current_conn;
static bool g_nus_notif_enabled;
static uint16_t g_tx_cmd_id;

static char   g_nus_rx_buf[NUS_RX_BUF_SIZE];
static size_t g_nus_rx_len;

static struct ble_printer_state g_state;
static struct ble_last_ack g_last_ack;
static K_MUTEX_DEFINE(g_proto_lock);

static bool str_to_bool(const char *s, bool *out)
{
    if (s == NULL || out == NULL) {
        return false;
    }

    if ((strcmp(s, "1") == 0) || (strcmp(s, "true") == 0) || (strcmp(s, "on") == 0)) {
        *out = true;
        return true;
    }
    if ((strcmp(s, "0") == 0) || (strcmp(s, "false") == 0) || (strcmp(s, "off") == 0)) {
        *out = false;
        return true;
    }

    return false;
}

static bool str_to_float(const char *s, float *out)
{
    if (s == NULL || out == NULL) {
        return false;
    }

    char *endp = NULL;
    float val = strtof(s, &endp);
    if (endp == s || (endp != NULL && *endp != '\0')) {
        return false;
    }

    *out = val;
    return true;
}

static void parse_ack_message(char *msg)
{
    char *saveptr = NULL;
    char *tok = strtok_r(msg, ":", &saveptr); /* ack */
    ARG_UNUSED(tok);

    char *id_tok = strtok_r(NULL, ":", &saveptr);
    char *status_tok = strtok_r(NULL, ":", &saveptr);
    char *reason_tok = strtok_r(NULL, ":", &saveptr);

    if (id_tok == NULL || status_tok == NULL) {
        LOG_WRN("Malformed ACK");
        return;
    }

    long id_val = strtol(id_tok, NULL, 10);
    bool ok = (strcmp(status_tok, "ok") == 0);

    k_mutex_lock(&g_proto_lock, K_FOREVER);
    g_last_ack.valid = true;
    g_last_ack.id = (uint16_t)id_val;
    g_last_ack.ok = ok;
    if (ok || reason_tok == NULL) {
        g_last_ack.reason[0] = '\0';
    } else {
        (void)snprintf(g_last_ack.reason, sizeof(g_last_ack.reason), "%s", reason_tok);
    }
    k_mutex_unlock(&g_proto_lock);

    if (ok) {
        LOG_INF("ACK id=%ld ok", id_val);
    } else {
        LOG_WRN("ACK id=%ld deny=%s", id_val, (reason_tok != NULL) ? reason_tok : "unknown");
    }
}

static void parse_state_pos(char *saveptr)
{
    float x = g_state.pos_x;
    float y = g_state.pos_y;
    float z = g_state.pos_z;
    float e = g_state.pos_e;

    while (1) {
        char *axis = strtok_r(NULL, ":", &saveptr);
        char *val = strtok_r(NULL, ":", &saveptr);
        if (axis == NULL || val == NULL) {
            break;
        }

        float parsed = 0.0f;
        if (!str_to_float(val, &parsed)) {
            continue;
        }

        if (strcmp(axis, "x") == 0) {
            x = parsed;
        } else if (strcmp(axis, "y") == 0) {
            y = parsed;
        } else if (strcmp(axis, "z") == 0) {
            z = parsed;
        } else if (strcmp(axis, "e") == 0) {
            e = parsed;
        }
    }

    k_mutex_lock(&g_proto_lock, K_FOREVER);
    g_state.valid = true;
    g_state.pos_x = x;
    g_state.pos_y = y;
    g_state.pos_z = z;
    g_state.pos_e = e;
    k_mutex_unlock(&g_proto_lock);
}

static void parse_state_temp(char *saveptr)
{
    float te = g_state.temp_e;
    float tb = g_state.temp_b;
    float te_tgt = g_state.temp_e_target;
    float tb_tgt = g_state.temp_b_target;

    while (1) {
        char *name = strtok_r(NULL, ":", &saveptr);
        char *val = strtok_r(NULL, ":", &saveptr);
        if (name == NULL || val == NULL) {
            break;
        }

        float parsed = 0.0f;
        if (!str_to_float(val, &parsed)) {
            continue;
        }

        if (strcmp(name, "e") == 0) {
            te = parsed;
        } else if (strcmp(name, "b") == 0) {
            tb = parsed;
        } else if (strcmp(name, "et") == 0 || strcmp(name, "e_target") == 0) {
            te_tgt = parsed;
        } else if (strcmp(name, "bt") == 0 || strcmp(name, "b_target") == 0) {
            tb_tgt = parsed;
        }
    }

    k_mutex_lock(&g_proto_lock, K_FOREVER);
    g_state.valid = true;
    g_state.temp_e = te;
    g_state.temp_b = tb;
    g_state.temp_e_target = te_tgt;
    g_state.temp_b_target = tb_tgt;
    k_mutex_unlock(&g_proto_lock);
}

static void parse_state_homed(char *saveptr)
{
    bool hx = g_state.homed_x;
    bool hy = g_state.homed_y;
    bool hz = g_state.homed_z;

    while (1) {
        char *axis = strtok_r(NULL, ":", &saveptr);
        char *val = strtok_r(NULL, ":", &saveptr);
        if (axis == NULL || val == NULL) {
            break;
        }

        bool parsed = false;
        if (!str_to_bool(val, &parsed)) {
            continue;
        }

        if (strcmp(axis, "x") == 0) {
            hx = parsed;
        } else if (strcmp(axis, "y") == 0) {
            hy = parsed;
        } else if (strcmp(axis, "z") == 0) {
            hz = parsed;
        }
    }

    k_mutex_lock(&g_proto_lock, K_FOREVER);
    g_state.valid = true;
    g_state.homed_x = hx;
    g_state.homed_y = hy;
    g_state.homed_z = hz;
    k_mutex_unlock(&g_proto_lock);
}

static void parse_state_message(char *msg)
{
    char *saveptr = NULL;
    char *tok = strtok_r(msg, ":", &saveptr); /* state */
    ARG_UNUSED(tok);

    char *subtype = strtok_r(NULL, ":", &saveptr);
    if (subtype == NULL) {
        LOG_WRN("Malformed STATE");
        return;
    }

    if (strcmp(subtype, "pos") == 0) {
        parse_state_pos(saveptr);
    } else if (strcmp(subtype, "temp") == 0 || strcmp(subtype, "temp_target") == 0) {
        parse_state_temp(saveptr);
    } else if (strcmp(subtype, "homed") == 0) {
        parse_state_homed(saveptr);
    } else if (strcmp(subtype, "can_move") == 0) {
        char *val = strtok_r(NULL, ":", &saveptr);
        bool parsed = false;
        if (str_to_bool(val, &parsed)) {
            k_mutex_lock(&g_proto_lock, K_FOREVER);
            g_state.valid = true;
            g_state.can_move = parsed;
            k_mutex_unlock(&g_proto_lock);
        }
    } else if (strcmp(subtype, "printing") == 0) {
        char *val = strtok_r(NULL, ":", &saveptr);
        bool parsed = false;
        if (str_to_bool(val, &parsed)) {
            k_mutex_lock(&g_proto_lock, K_FOREVER);
            g_state.valid = true;
            g_state.printing = parsed;
            k_mutex_unlock(&g_proto_lock);
        }
    } else if (strcmp(subtype, "fan") == 0) {
        char *val = strtok_r(NULL, ":", &saveptr);
        float parsed = 0.0f;
        if (str_to_float(val, &parsed)) {
            k_mutex_lock(&g_proto_lock, K_FOREVER);
            g_state.valid = true;
            g_state.fan_pct = parsed;
            k_mutex_unlock(&g_proto_lock);
        }
    } else if (strcmp(subtype, "tool") == 0) {
        char *val = strtok_r(NULL, ":", &saveptr);
        if (val != NULL) {
            long tool = strtol(val, NULL, 10);
            k_mutex_lock(&g_proto_lock, K_FOREVER);
            g_state.valid = true;
            g_state.tool = (int)tool;
            k_mutex_unlock(&g_proto_lock);
        }
    }
}

static void nus_notif_enabled(bool enabled, void *ctx)
{
    ARG_UNUSED(ctx);
    g_nus_notif_enabled = enabled;
    LOG_INF("NUS TX notifications %s", enabled ? "enabled" : "disabled");
}

static void nus_process_line(char *line)
{
    LOG_INF("NUS RX: %s", line);

    if (strncmp(line, "ack:", 4) == 0) {
        parse_ack_message(line);
        return;
    }
    if (strncmp(line, "state:", 6) == 0 || strncmp(line, "status:", 7) == 0) {
        parse_state_message(line);
        return;
    }
}

static void nus_received(struct bt_conn *conn, const void *data, uint16_t len, void *ctx)
{
    ARG_UNUSED(conn);
    ARG_UNUSED(ctx);

    const uint8_t *bytes = (const uint8_t *)data;

    for (uint16_t i = 0; i < len; i++) {
        char c = (char)bytes[i];

        if (c == '\n' || c == '\r') {
            if (g_nus_rx_len > 0) {
                g_nus_rx_buf[g_nus_rx_len] = '\0';
                nus_process_line(g_nus_rx_buf);
                g_nus_rx_len = 0;
            }
            continue;
        }

        if (g_nus_rx_len >= NUS_RX_BUF_SIZE - 1U) {
            LOG_WRN("NUS RX line overflow, resetting");
            g_nus_rx_len = 0;
            continue;
        }

        g_nus_rx_buf[g_nus_rx_len++] = c;
    }
}

static struct bt_nus_cb nus_cb = {
    .notif_enabled = nus_notif_enabled,
    .received = nus_received,
};

static void connected(struct bt_conn *conn, uint8_t err)
{
    if (err != 0) {
        LOG_WRN("BLE connect failed (err %u)", err);
        return;
    }

    if (g_current_conn != NULL) {
        bt_conn_unref(g_current_conn);
    }
    g_current_conn = bt_conn_ref(conn);
    g_ble_connected = true;
    g_nus_notif_enabled = false;
    LOG_INF("BLE connected");
}

static void disconnected(struct bt_conn *conn, uint8_t reason)
{
    ARG_UNUSED(conn);

    if (g_current_conn != NULL) {
        bt_conn_unref(g_current_conn);
        g_current_conn = NULL;
    }
    g_ble_connected = false;
    g_nus_notif_enabled = false;
    g_nus_rx_len = 0;   /* discard any partial line from previous session */
    LOG_INF("BLE disconnected (reason 0x%02x)", reason);
}

BT_CONN_CB_DEFINE(conn_callbacks) = {
    .connected = connected,
    .disconnected = disconnected,
};

static void ble_tx_thread_fn(void *p1, void *p2, void *p3)
{
    ARG_UNUSED(p1);
    ARG_UNUSED(p2);
    ARG_UNUSED(p3);

    k_sem_take(&ble_ready_sem, K_FOREVER);

    while (1) {
        struct ble_tx_msg msg;
        int qret = k_msgq_get(&ble_tx_msgq, &msg, K_FOREVER);
        if (qret != 0) {
            continue;
        }

        if (!g_ble_connected || !g_nus_notif_enabled || g_current_conn == NULL) {
            continue;
        }

        struct bt_conn *conn = bt_conn_ref(g_current_conn);
        int ret = 0;
        for (uint8_t off = 0; off < msg.len; off += BLE_NUS_CHUNK_LEN) {
            uint8_t chunk_len = msg.len - off;
            if (chunk_len > BLE_NUS_CHUNK_LEN) {
                chunk_len = BLE_NUS_CHUNK_LEN;
            }

            ret = bt_nus_send(conn, &msg.payload[off], chunk_len);
            if (ret != 0) {
                LOG_WRN("bt_nus_send failed (%d), off=%u len=%u", ret, off, chunk_len);
                break;
            }
        }

        bt_conn_unref(conn);
    }
}

int ble_commands_init(void)
{
    LOG_INF("Initializing BLE stack");

    int err = bt_enable(NULL);
    if (err != 0) {
        LOG_ERR("bt_enable failed (%d)", err);
        return err;
    }

    err = bt_nus_cb_register(&nus_cb, NULL);
    if (err != 0) {
        LOG_ERR("bt_nus_cb_register failed (%d)", err);
        return err;
    }

    const struct bt_data ad[] = {
        BT_DATA_BYTES(BT_DATA_FLAGS, (BT_LE_AD_GENERAL | BT_LE_AD_NO_BREDR)),
        BT_DATA(BT_DATA_NAME_COMPLETE, CONFIG_BT_DEVICE_NAME,
                sizeof(CONFIG_BT_DEVICE_NAME) - 1),
    };

    const struct bt_data sd[] = {
        BT_DATA_BYTES(BT_DATA_UUID128_ALL, BT_UUID_NUS_SRV_VAL),
    };

    static const struct bt_le_adv_param adv_param = {
        .id = 0,
        .sid = 0,
        .secondary_max_skip = 0,
        .options = BT_LE_ADV_OPT_CONN,
        .interval_min = 0x0030,
        .interval_max = 0x0060,
        .peer = NULL,
    };

    err = bt_le_adv_start(&adv_param, ad, ARRAY_SIZE(ad), sd, ARRAY_SIZE(sd));
    if (err != 0) {
        LOG_ERR("Advertising start failed (%d)", err);
        return err;
    }

    LOG_INF("BLE NUS advertising as '%s'", CONFIG_BT_DEVICE_NAME);

    k_thread_create(&ble_tx_thread_data, ble_tx_stack,
                    K_THREAD_STACK_SIZEOF(ble_tx_stack),
                    ble_tx_thread_fn, NULL, NULL, NULL,
                    BLE_TX_THREAD_PRIO, 0, K_NO_WAIT);
    k_thread_name_set(&ble_tx_thread_data, "ble_tx");
    k_sem_give(&ble_ready_sem);

    return 0;
}

static void ble_queue_text(const char *text)
{
    if (!g_ble_connected || !g_nus_notif_enabled) {
        return;
    }

    struct ble_tx_msg msg;
    size_t len = strlen(text);

    if (len >= BLE_MSG_MAX_LEN) {
        len = BLE_MSG_MAX_LEN - 1;
    }

    memcpy(msg.payload, text, len);
    msg.payload[len] = '\0';
    msg.len = (uint8_t)len;

    int ret = k_msgq_put(&ble_tx_msgq, &msg, K_NO_WAIT);
    if (ret == -ENOMSG) {
        LOG_WRN("BLE TX queue full, dropping '%s'", msg.payload);
    }
}

void ble_send_gcode(const char *cmd)
{
    if (cmd == NULL) {
        return;
    }

    uint16_t id = ++g_tx_cmd_id;
    if (id == 0U) {
        id = ++g_tx_cmd_id;
    }

    char framed[BLE_MSG_MAX_LEN];
    int ret = snprintf(framed, sizeof(framed), "cmd:%u:%s\n", id, cmd);
    if (ret <= 0 || ret >= (int)sizeof(framed)) {
        LOG_WRN("Command too long, dropping '%s'", cmd);
        return;
    }

    ble_queue_text(framed);
}

bool ble_printer_state_get(struct ble_printer_state *out_state)
{
    if (out_state == NULL) {
        return false;
    }

    k_mutex_lock(&g_proto_lock, K_FOREVER);
    *out_state = g_state;
    k_mutex_unlock(&g_proto_lock);

    return out_state->valid;
}

bool ble_printer_can_move(void)
{
    bool can_move = true;
    k_mutex_lock(&g_proto_lock, K_FOREVER);
    if (g_state.valid) {
        can_move = g_state.can_move;
    }
    k_mutex_unlock(&g_proto_lock);
    return can_move;
}

bool ble_last_ack_get(struct ble_last_ack *out_ack)
{
    if (out_ack == NULL) {
        return false;
    }

    k_mutex_lock(&g_proto_lock, K_FOREVER);
    *out_ack = g_last_ack;
    k_mutex_unlock(&g_proto_lock);

    return out_ack->valid;
}
```
